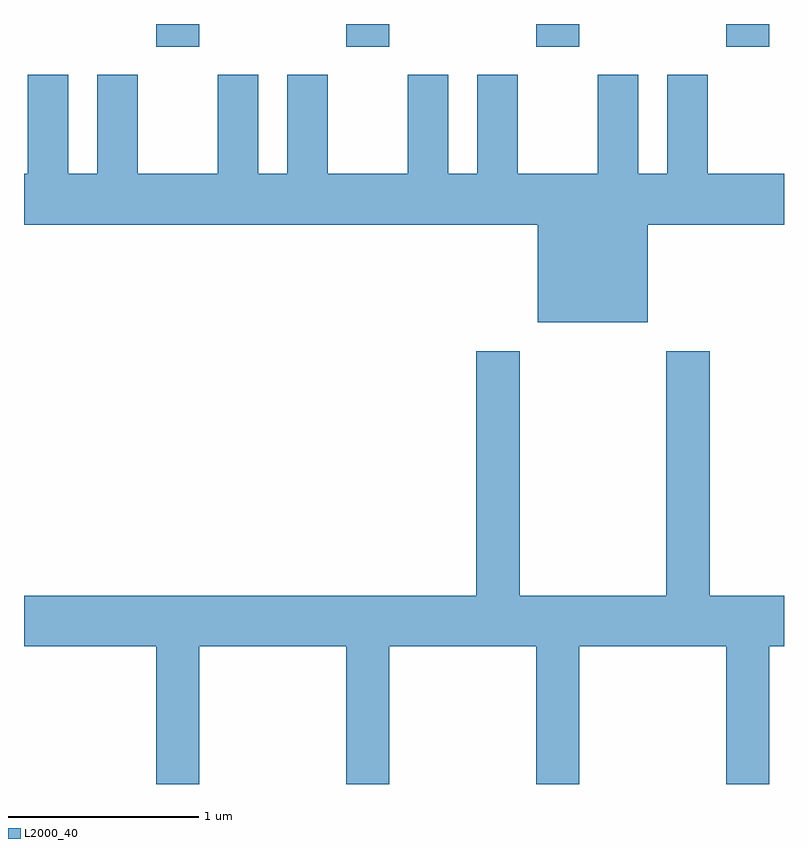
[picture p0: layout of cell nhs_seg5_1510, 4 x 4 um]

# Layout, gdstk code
import gdstk
lib = gdstk.Library(unit=1e-6, precision=1e-09)
def R(c, l, rs):  # rectangles x0, y0, x1, y1
    for r in rs: c.add(gdstk.rectangle(r[:2], r[2:], *l))
def A(c, l, x, y, w, h, nx, ny, dx, dy):  # array of equal rectangles
    R(c, l, [(x+i*dx, y+j*dy, x+i*dx+w, y+j*dy+h) for i in range(nx) for j in range(ny)])
def P(c, l, *ps):  # polygons
    for p in ps: c.add(gdstk.Polygon(p, *l))
L2000_40 = (2000, 40)

nhs_seg5_1510 = lib.new_cell('nhs_seg5_1510')
A(nhs_seg5_1510, L2000_40, 230.306, 1459.951, 0.228, 0.121, 4, 1, 1, 0)
P(nhs_seg5_1510, L2000_40, [(232.631,1459.804),(232.631,1459.284),(232.209,1459.284),(232.209,1459.804),(231.996,1459.804),(231.996,1459.284),(231.844,1459.284),(231.844,1459.804),(231.631,1459.804),(231.631,1459.284),(231.209,1459.284),(231.209,1459.804),(230.996,1459.804),(230.996,1459.284),(230.844,1459.284),(230.844,1459.804),(230.631,1459.804),(230.631,1459.284),(230.209,1459.284),(230.209,1459.804),(229.996,1459.804),(229.996,1459.284),(229.844,1459.284),(229.844,1459.804),(229.631,1459.804),(229.631,1459.284),(229.611,1459.284),(229.611,1459.016),(232.316,1459.016),(232.316,1458.501),(232.894,1458.501),(232.894,1459.016),(233.611,1459.016),(233.611,1459.284),(233.209,1459.284),(233.209,1459.804),(232.996,1459.804),(232.996,1459.284),(232.844,1459.284),(232.844,1459.804)],
  [(230.534,1456.796),(231.306,1456.796),(231.306,1456.072),(231.534,1456.072),(231.534,1456.796),(232.306,1456.796),(232.306,1456.072),(232.534,1456.072),(232.534,1456.796),(233.306,1456.796),(233.306,1456.072),(233.534,1456.072),(233.534,1456.796),(233.611,1456.796),(233.611,1457.064),(233.219,1457.064),(233.219,1458.349),(232.991,1458.349),(232.991,1457.064),(232.219,1457.064),(232.219,1458.349),(231.991,1458.349),(231.991,1457.064),(229.611,1457.064),(229.611,1456.796),(230.306,1456.796),(230.306,1456.072),(230.534,1456.072)])

lib.write_gds('nhs_seg5_1510.gds')
